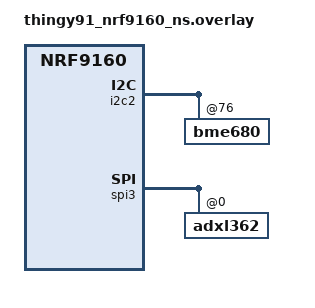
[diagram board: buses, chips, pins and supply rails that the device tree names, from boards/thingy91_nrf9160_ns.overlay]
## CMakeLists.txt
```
cmake_minimum_required(VERSION 3.20.0)
find_package(Zephyr REQUIRED HINTS $ENV{ZEPHYR_BASE})
project(nrf_cloud_mqtt_multi_service)

target_sources(app PRIVATE src/main.c)
target_sources(app PRIVATE src/application.c)
target_sources(app PRIVATE src/connection.c)
target_sources(app PRIVATE src/led_control.c)
target_sources(app PRIVATE src/vibration.c)

# AWS FILE
target_sources(app PRIVATE src/aws_transport.c)

# OLD COAP FILE (Commented out)
# target_sources(app PRIVATE src/tb_coap.c)

zephyr_include_directories(src)
```

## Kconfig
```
menu "Application Settings"

config APP_VERSION
    string "Application version"
    default "1.0.0"

# --- Stack Sizes ---
config APPLICATION_THREAD_STACK_SIZE
    int "Application Thread Stack Size (bytes)"
    default 4096

config CONNECTION_THREAD_STACK_SIZE
    int "Connection Thread Stack Size (bytes)"
    default 2048

# --- ThingsBoard CoAP Settings ---
config CLOUD_THINGSBOARD_COAP
    select COAP_UTILS
    bool "Enables reporting to Thingsboard cloud"
    default y

config CLOUD_THINGSBOARD_COAP_SERVER_HOSTNAME
    string "Thingsboard CoAP server hostname"
    default "coap.thingsboard.cloud"

config CLOUD_THINGSBOARD_COAP_SERVER_PORT
    int "CoAP server port"
    default 5683
    
config CLOUD_THINGSBOARD_COAP_ACCESS_TOKEN
    string "Thingsboard device access token"

# --- LED Configuration ---
# We use a custom simple LED driver now, but we need to check if PWM is available
config LED_INDICATION_PWM
    bool "Enable LED indication using the pwm-leds driver"
    default y if BOARD_THINGY91_NRF9160_NS

endmenu

module = APP
module-str = Application
source "${ZEPHYR_BASE}/subsys/logging/Kconfig.template.log_config"

menu "Zephyr Kernel"
source "Kconfig.zephyr"
endmenu
```

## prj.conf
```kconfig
# --- Application Memory ---
CONFIG_MAIN_STACK_SIZE=4096
CONFIG_HEAP_MEM_POOL_SIZE=8192

# --- AWS IoT Configuration ---
CONFIG_AWS_IOT=y
CONFIG_AWS_IOT_SEC_TAG=16842753
CONFIG_AWS_IOT_APP_SUBSCRIPTION_LIST_COUNT=0
CONFIG_AWS_IOT_CLIENT_ID_STATIC="thingy91_XX" #Replace with your device id (Ex: thimgy91_01)

# --- CHECK THIS CAREFULLY ---
CONFIG_AWS_IOT_BROKER_HOST_NAME="XXXXXXXXXXXXX-ats.iot.us-east-2.amazonaws.com" #Replace with host name in AWS IoT Core

# Network Configuration for Hologram
CONFIG_PDN=y
CONFIG_PDN_DEFAULTS_OVERRIDE=y
CONFIG_PDN_DEFAULT_APN="hologram"
CONFIG_PDN_DEFAULT_FAM_IPV4=y

# Ensure the modem checks the external slot by default
# (You might still need the AT command once, but this helps stability)

# --- Networking ---
CONFIG_NETWORKING=y
CONFIG_NET_NATIVE=n
CONFIG_NET_SOCKETS=y
CONFIG_NET_SOCKETS_OFFLOAD=y

# --- JSON ---
CONFIG_CJSON_LIB=y

# --- System & Libs ---
CONFIG_EVENTS=y
CONFIG_DATE_TIME=y
CONFIG_NEWLIB_LIBC=y
CONFIG_NEWLIB_LIBC_FLOAT_PRINTF=y
CONFIG_RESET_ON_FATAL_ERROR=n
CONFIG_NCS_SAMPLES_DEFAULTS=y

# --- Modem & LTE ---
CONFIG_NRF_MODEM_LIB=y
CONFIG_LTE_LINK_CONTROL=y
CONFIG_LTE_NETWORK_MODE_LTE_M_GPS=n
CONFIG_MODEM_INFO=y

# --- Power & Hardware ---
CONFIG_LTE_PSM_REQ=n
CONFIG_LTE_EDRX_REQ=n
CONFIG_PWM=y
CONFIG_LED=y
CONFIG_LED_PWM=y
CONFIG_ADP536X=y

# --- Logging ---
CONFIG_LOG=y
CONFIG_LOG_MODE_DEFERRED=y


CONFIG_CBPRINTF_FP_A_SUPPORT=y
```

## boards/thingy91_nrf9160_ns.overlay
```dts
/* Copyright (c) 2022 Nordic Semiconductor ASA
 *
 * SPDX-License-Identifier: LicenseRef-Nordic-5-Clause
 */

/ {
	aliases {
		temp-sensor = &bme680;
		accelerometer = &adxl362;
		impact-sensor = &adxl372;
	};
};

&i2c2 {
	bme680: bme680@76 {};
};

&spi3 {
	adxl362: adxl362@0 {
		// autosleep;
	};
};

// /* Configure ADXL362 Sampling Rate */
// &spi3 {
//     adxl362@0 {
//         /* Set Output Data Rate to 100 Hz (Default is often 100 or 12.5) */
//         /* Options: 0=12.5Hz, 1=25Hz, 2=50Hz, 3=100Hz, 4=200Hz, 5=400Hz */
//         /* Note: The exact syntax depends on the Zephyr version, but typically: */
//         odr = <3>; 
//     };
// };

// /* Change 100 to 50 for 20Hz checks, or 200 for 5Hz checks */
// #define POLL_INTERVAL_MS 100
```

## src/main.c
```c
#include "application.h"
#include "connection.h"
#include "led_control.h"
#include <zephyr/kernel.h>
#include <zephyr/logging/log.h>

LOG_MODULE_REGISTER(main, CONFIG_LOG_DEFAULT_LEVEL);

/* Main Application Thread */
K_THREAD_DEFINE(app_thread, CONFIG_APPLICATION_THREAD_STACK_SIZE,
                main_application_thread_fn, NULL, NULL, NULL, 0, 0, 0);

/* Connection Management Thread (-1 Priority = Highest/Pre-emptive) */
K_THREAD_DEFINE(con_thread, CONFIG_CONNECTION_THREAD_STACK_SIZE,
                connection_management_thread_fn, NULL, NULL, NULL, -1, 0, 0);

int main(void) {
  /* Init LED hardware immediately */
  led_init();

  LOG_INF("nRF Cloud MQTT multi-service sample has started.");
  return 0;
}
```

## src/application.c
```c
#include <zephyr/kernel.h>
#include <zephyr/logging/log.h>
#include <date_time.h>
#include <stdio.h>
#include <string.h>
#include <math.h>
#include <modem/modem_info.h>

#if defined(CONFIG_ADP536X)
#include <adp536x.h>
#endif

#include "application.h"
#include "connection.h"
#include "led_control.h"
#include "vibration.h"
#include "aws_transport.h" 

LOG_MODULE_REGISTER(application, CONFIG_LOG_DEFAULT_LEVEL);

static K_TIMER_DEFINE(sensor_sample_timer, NULL, NULL);

/* --- CONFIGURATION --- */
#define SAMPLING_RATE_MS 100   
#define BATCH_SIZE       500   
#define VIB_THRESHOLD    0.0   
#define HEARTBEAT_INTERVAL_MS 60000
#define ERROR_BACKOFF_TIME_MS 5000
#define PACKET_OVERHEAD_BYTES 350 
#define JSON_BUFFER_SIZE 12288

struct VibrationData {
    float ax;
    float az;
};

static struct VibrationData batch_buffer[BATCH_SIZE];
static int batch_index = 0;
static int64_t batch_start_time = 0;
static int64_t total_bytes_sent = 0;
static char huge_payload[JSON_BUFFER_SIZE];

void main_application_thread_fn(void)
{
    int err = modem_info_init();
    if (err) LOG_ERR("Modem init error: %d", err);

    LOG_INF("Waiting for LTE...");
    (void)await_lte_connection(K_FOREVER);
    
    LOG_INF("Waiting for Time...");
    await_date_time_known(K_SECONDS(20));

    start_vibration_tracking();
    start_aws_transport(); 

    while (!is_aws_connected()) {
        k_sleep(K_SECONDS(1));
    }
    LOG_INF("AWS Connected!");
    led_set_connection_status(true);

    k_timer_start(&sensor_sample_timer, K_MSEC(SAMPLING_RATE_MS), K_MSEC(SAMPLING_RATE_MS));

    int64_t last_heartbeat = 0;
    int64_t backoff_until = 0;
    double peak_x = 0, peak_z = 0;
    bool significant_motion = false;

    while (true) {
        k_timer_status_sync(&sensor_sample_timer);
        int64_t now = k_uptime_get();

        /* --- 1. HEARTBEAT WITH BATTERY MAPPING --- */
        if (now - last_heartbeat >= HEARTBEAT_INTERVAL_MS) {
            if (is_aws_connected()) {
                uint8_t raw_bat = 0;
#if defined(CONFIG_ADP536X)
                adp536x_fg_soc(&raw_bat);
#endif
                /* Map 94% to 100% */
                int mapped_bat = (int)(raw_bat * 1.064);
                if (mapped_bat > 100) mapped_bat = 100;

                int64_t hb_time = 0;
                date_time_now(&hb_time);

                char beat_payload[128];
                /* FIX: Cast timestamp to (long) and use %ld to avoid "ld" error */
                snprintf(beat_payload, sizeof(beat_payload), 
                         "{\"t\":%ld,\"type\":\"beat\",\"b\":%d}", 
                         (long)(hb_time / 1000), mapped_bat);
                
                aws_send_telemetry(beat_payload);
                total_bytes_sent += (strlen(beat_payload) + PACKET_OVERHEAD_BYTES);
                LOG_INF("Heartbeat: %d%% (Raw: %d%%). Total: %lld KB", 
                        mapped_bat, raw_bat, total_bytes_sent / 1024);
                
                last_heartbeat = now;
            }
        }

        /* --- 2. VIBRATION READ --- */
        double curr_x, curr_y, curr_z;
        get_vibration_xyz(&curr_x, &curr_y, &curr_z);
        if (fabs(curr_x) > fabs(peak_x)) peak_x = curr_x;
        if (fabs(curr_z) > fabs(peak_z)) peak_z = curr_z;
        if (fabs(curr_x) > VIB_THRESHOLD || fabs(curr_z) > VIB_THRESHOLD) significant_motion = true;

        /* --- 3. STORE --- */
        if (batch_index == 0) date_time_now(&batch_start_time);
        batch_buffer[batch_index].ax = (float)peak_x;
        batch_buffer[batch_index].az = (float)peak_z;
        batch_index++;
        peak_x = 0; peak_z = 0; 

        /* --- 4. OPTIMIZED UPLOAD --- */
        if (batch_index >= BATCH_SIZE) {
            if (significant_motion && (now >= backoff_until) && is_aws_connected()) {
                int offset = 0;
                
                /* FIX: Cast to (long) and use %ld. 
                   Old %lld caused 'ld' text to appear in JSON */
                offset += snprintf(huge_payload + offset, JSON_BUFFER_SIZE - offset, 
                                   "{\"t\":%ld,\"x\":[", (long)(batch_start_time / 1000));
                
                for (int i = 0; i < BATCH_SIZE; i++) {
                    offset += snprintf(huge_payload + offset, JSON_BUFFER_SIZE - offset, "%.2f", batch_buffer[i].ax);
                    if (i < BATCH_SIZE - 1) huge_payload[offset++] = ',';
                }
                
                offset += snprintf(huge_payload + offset, JSON_BUFFER_SIZE - offset, "],\"z\":[");
                
                for (int i = 0; i < BATCH_SIZE; i++) {
                    offset += snprintf(huge_payload + offset, JSON_BUFFER_SIZE - offset, "%.2f", batch_buffer[i].az);
                    if (i < BATCH_SIZE - 1) huge_payload[offset++] = ',';
                }
                
                offset += snprintf(huge_payload + offset, JSON_BUFFER_SIZE - offset, "]}");

                if (aws_send_telemetry(huge_payload) != 0) {
                    backoff_until = now + ERROR_BACKOFF_TIME_MS;
                } else {
                    total_bytes_sent += (offset + PACKET_OVERHEAD_BYTES);
                    LOG_INF("Upload Success. Total Session: %lld KB", total_bytes_sent / 1024);
                }
            }
            batch_index = 0;
            significant_motion = false;
        }
    }
}
```

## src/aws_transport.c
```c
#include <zephyr/kernel.h>
#include <zephyr/logging/log.h>
#include <net/aws_iot.h>
#include <stdio.h>
#include "aws_transport.h"

LOG_MODULE_REGISTER(aws_transport, CONFIG_LOG_DEFAULT_LEVEL);

// UPDATED TOPIC
#define AWS_TOPIC "thingy91/thingy91_XX/data"

static struct k_work_delayable connect_work;
static bool aws_connected = false;

void aws_iot_event_handler(const struct aws_iot_evt *const evt)
{
    switch (evt->type) {
    case AWS_IOT_EVT_CONNECTED:
        LOG_INF("AWS IoT Connected!");
        aws_connected = true;
        break;
    case AWS_IOT_EVT_DISCONNECTED:
        LOG_WRN("AWS IoT Disconnected! Reconnecting in 5s...");
        aws_connected = false;
        k_work_schedule(&connect_work, K_SECONDS(5));
        break;
    case AWS_IOT_EVT_ERROR:
        LOG_ERR("AWS IoT Error: %d", evt->data.err);
        break;
    default:
        break;
    }
}

static void connect_work_fn(struct k_work *work)
{
    LOG_INF("Connecting to AWS IoT...");
    
    struct aws_iot_config config = {0};
    config.client_id = NULL; 
    
    int err = aws_iot_connect(&config);
    if (err) {
        LOG_ERR("AWS Connect failed: %d. Retrying in 5s...", err);
        k_work_schedule(&connect_work, K_SECONDS(5));
    }
}

void start_aws_transport(void)
{
    int err = aws_iot_init(NULL, aws_iot_event_handler);
    if (err) {
        LOG_ERR("AWS Init failed: %d", err);
        return;
    }

    k_work_init_delayable(&connect_work, connect_work_fn);
    k_work_schedule(&connect_work, K_NO_WAIT);
}

int aws_send_telemetry(const char *payload)
{
    if (!aws_connected) {
        return -ENOTCONN;
    }

    struct aws_iot_data tx_data = {
        .ptr = (char *)payload,
        .len = strlen(payload),
        .message_id = 0,
        .qos = MQTT_QOS_0_AT_MOST_ONCE,
        .topic.str = AWS_TOPIC,
        .topic.len = strlen(AWS_TOPIC)
    };
    
    return aws_iot_send(&tx_data);
}

/* Helper to let application.c know if we are ready */
bool is_aws_connected(void)
{
    return aws_connected;
}
```

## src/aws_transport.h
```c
#ifndef AWS_TRANSPORT_H
#define AWS_TRANSPORT_H

#include <stdbool.h>

void start_aws_transport(void);
int aws_send_telemetry(const char *payload);
bool is_aws_connected(void);

#endif
```

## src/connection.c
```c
#include <date_time.h>
#include <modem/lte_lc.h>
#include <modem/nrf_modem_lib.h>
#include <stdio.h>
#include <zephyr/kernel.h>
#include <zephyr/logging/log.h>
#include <zephyr/net/socket.h>

#include "connection.h"
#include "led_control.h" // Uses new API

LOG_MODULE_REGISTER(connection, CONFIG_LOG_DEFAULT_LEVEL);

/* Flow control event identifiers */
#define LTE_CONNECTED (1 << 1)
#define LTE_DISCONNECTED (1 << 2)
#define DATE_TIME_KNOWN (1 << 1)

static K_EVENT_DEFINE(lte_connection_events);
static K_EVENT_DEFINE(datetime_connection_events);

/* ... (Keep notify_lte_connected, clear_lte_connected, await_lte_connection,
 * etc. as they were) ... */
/* NOTE: I am abbreviating helper functions here to save space.
   Keep your existing 'static void notify_lte_connected',
   'await_lte_connection', etc. They do not change.
*/
static void notify_lte_connected(void) {
  k_event_post(&lte_connection_events, LTE_CONNECTED);
}
static void clear_lte_connected(void) {
  k_event_set(&lte_connection_events, 0);
}
bool await_lte_connection(k_timeout_t timeout) {
  return k_event_wait_all(&lte_connection_events, LTE_CONNECTED, false,
                          timeout) != 0;
}
static void notify_date_time_known(void) {
  k_event_post(&datetime_connection_events, DATE_TIME_KNOWN);
}
bool await_date_time_known(k_timeout_t timeout) {
  return k_event_wait(&datetime_connection_events, DATE_TIME_KNOWN, false,
                      timeout) != 0;
}
static void date_time_evt_handler(const struct date_time_evt *date_time_evt) {
  if (date_time_is_valid()) {
    notify_date_time_known();
  }
}

/* ... (Keep lte_event_handler and setup_modem as they were) ... */
static void lte_event_handler(const struct lte_lc_evt *const evt) {
  /* Copy your existing lte_event_handler logic here */
  switch (evt->type) {
  case LTE_LC_EVT_NW_REG_STATUS:
    if ((evt->nw_reg_status != LTE_LC_NW_REG_REGISTERED_HOME) &&
        (evt->nw_reg_status != LTE_LC_NW_REG_REGISTERED_ROAMING)) {
      clear_lte_connected();
      k_event_post(&lte_connection_events, LTE_DISCONNECTED);

      /* LINK DROP: Turn LED RED */
      led_set_connection_status(false);
    } else {
      notify_lte_connected();
    }
    break;
  default:
    break;
  }
}

static int setup_modem(void) {
  int ret = nrf_modem_lib_init();
  if (ret == 0)
    date_time_register_handler(date_time_evt_handler);
  return ret;
}

static int setup_lte(void) {
  /* Copy your existing setup_lte logic here */
  if (IS_ENABLED(CONFIG_POWER_SAVING_MODE_ENABLE))
    lte_lc_psm_req(true);
  lte_lc_modem_events_enable();
  return lte_lc_init_and_connect_async(lte_event_handler);
}

void connection_management_thread_fn(void) {
  /* STARTUP: Turn LED RED */
  led_set_connection_status(false);

  LOG_INF("Setting up modem...");
  if (setup_modem()) {
    LOG_ERR("Modem setup failed");
    return;
  }

  LOG_INF("Setting up LTE...");
  if (setup_lte()) {
    LOG_ERR("LTE setup failed");
    return;
  }

  LOG_INF("Connecting to LTE network...");
  while (true) {
    /* Wait for connection */
    (void)await_lte_connection(K_FOREVER);

    /* NOTE: We do NOT turn the LED off here.
     * We wait for application.c to confirm everything (Cloud + Time) is ready.
     */

    k_event_set_masked(&lte_connection_events, 0, LTE_DISCONNECTED);
    (void)k_event_wait(&lte_connection_events, LTE_DISCONNECTED, false,
                       K_FOREVER);

    LOG_INF("Disconnected. Re-connecting...");
    /* RETRYING: Turn LED RED */
    led_set_connection_status(false);
  }
}
```

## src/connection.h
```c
#ifndef CONNECTION_H_
#define CONNECTION_H_

#include <stdbool.h>       // Required for bool
#include <zephyr/kernel.h> // Required for k_timeout_t

/**
 * @brief Thread entry point for connection management.
 */
void connection_management_thread_fn(void);

/**
 * @brief Wait for the LTE link to be established.
 * * @param timeout How long to wait.
 * @return true if connected, false if timed out.
 */
bool await_lte_connection(k_timeout_t timeout);

/**
 * @brief Wait for the modem to resolve the current date and time.
 * * @param timeout How long to wait.
 * @return true if time is known, false if timed out.
 */
bool await_date_time_known(k_timeout_t timeout);

#endif /* CONNECTION_H_ */
```

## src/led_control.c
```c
#include "led_control.h"
#include <zephyr/drivers/led.h>
#include <zephyr/kernel.h>
#include <zephyr/logging/log.h>

LOG_MODULE_REGISTER(led_control, CONFIG_LOG_DEFAULT_LEVEL);

/* Auto-detect LED driver (PWM or GPIO) */
#if defined(CONFIG_LED_INDICATION_PWM)
const static struct device *led_device = DEVICE_DT_GET_ANY(pwm_leds);
#else
const static struct device *led_device = DEVICE_DT_GET_ANY(gpio_leds);
#endif

/* RGB Channels on Thingy:91 */
#define LED_RED 0
#define LED_GRN 1
#define LED_BLU 2

void led_init(void) {
  if (!device_is_ready(led_device)) {
    LOG_ERR("LED device not ready");
    return;
  }
  /* Default to Not Connected (RED) on startup */
  led_set_connection_status(false);
}

void led_set_connection_status(bool connected) {
  if (!device_is_ready(led_device)) {
    return;
  }

  if (connected) {
    /* CONNECTED: Turn EVERYTHING OFF to save battery */
    led_off(led_device, LED_RED);
    led_off(led_device, LED_GRN);
    led_off(led_device, LED_BLU);
  } else {
    /* NOT CONNECTED: Turn RED ON */
    led_off(led_device, LED_GRN);
    led_off(led_device, LED_BLU);

    /* Set Red. If PWM, use brightness 20% to save even more power while still
     * visible */
#if defined(CONFIG_LED_INDICATION_PWM)
    led_set_brightness(led_device, LED_RED, 20);
#else
    led_on(led_device, LED_RED);
#endif
  }
}
```

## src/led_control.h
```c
#ifndef LED_CONTROL_H_
#define LED_CONTROL_H_

#include <stdbool.h>

/**
 * @brief Initialize the LED device.
 */
void led_init(void);

/**
 * @brief Set the connection status LED.
 * * @param connected
 * false = Not Connected (RED LED ON)
 * true  = Connected (LED OFF - Save Battery)
 */
void led_set_connection_status(bool connected);

#endif /* LED_CONTROL_H_ */
```

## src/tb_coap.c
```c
#include "tb_coap.h"
#include <stdio.h>
#include <zephyr/kernel.h>
#include <zephyr/logging/log.h>
#include <zephyr/net/coap.h>
#include <zephyr/net/socket.h>

LOG_MODULE_REGISTER(tb_coap, CONFIG_LOG_DEFAULT_LEVEL);

static int sock = -1;
static struct sockaddr_in server;
static uint8_t coap_buf[256];

/* Flag to track if we have the IP address */
static bool ip_resolved = false;

/* Forward declaration */
static int tb_coap_connect(void);

static int server_resolve(void) {
  int err;
  struct addrinfo *result;
  struct addrinfo hints = {.ai_family = AF_INET, .ai_socktype = SOCK_DGRAM};

  LOG_INF("Resolving %s", CONFIG_CLOUD_THINGSBOARD_COAP_SERVER_HOSTNAME);

  err = getaddrinfo(CONFIG_CLOUD_THINGSBOARD_COAP_SERVER_HOSTNAME, NULL, &hints,
                    &result);
  if (err != 0) {
    LOG_ERR("DNS Lookup failed %d", err);
    ip_resolved = false;
    return -EIO;
  }

  if (result == NULL) {
    LOG_ERR("Address not found");
    ip_resolved = false;
    return -ENOENT;
  }

  struct sockaddr_in *server4 = ((struct sockaddr_in *)&server);
  server4->sin_addr.s_addr =
      ((struct sockaddr_in *)result->ai_addr)->sin_addr.s_addr;
  server4->sin_family = AF_INET;
  server4->sin_port = htons(CONFIG_CLOUD_THINGSBOARD_COAP_SERVER_PORT);

  char ipv4_addr[NET_IPV4_ADDR_LEN];
  inet_ntop(AF_INET, &server4->sin_addr.s_addr, ipv4_addr, sizeof(ipv4_addr));
  LOG_INF("ThingsBoard IP resolved: %s", ipv4_addr);

  freeaddrinfo(result);
  ip_resolved = true;
  return 0;
}

void tb_coap_force_disconnect(void) {
  if (sock >= 0) {
    close(sock);
    sock = -1;
  }
}

static int tb_coap_connect(void) {
  int err;

  /* 1. Ensure we have an IP before creating a socket */
  if (!ip_resolved) {
    LOG_WRN("IP not resolved. Resolving now...");
    if (server_resolve() != 0) {
      return -EIO;
    }
  }

  /* 2. Safety: Close any old socket to prevent leaks */
  tb_coap_force_disconnect();

  LOG_INF("Creating new socket...");
  sock = socket(AF_INET, SOCK_DGRAM, IPPROTO_UDP);
  if (sock < 0) {
    LOG_ERR("Failed to create socket, errno: %d", errno);
    return -errno;
  }

  LOG_INF("Connecting to server...");
  err = connect(sock, (struct sockaddr *)&server, sizeof(server));

  /* --- FIX FOR ERROR 106 STARTS HERE --- */
  if (err < 0) {
    if (errno == EISCONN || errno == 106) {
      /* Error 106 means "Transport endpoint is already connected"
       * For us, this is GREAT. It means the link is ready.
       */
      LOG_WRN("Socket was already connected (106). Proceeding as Success.");
      return 0;
    }

    /* Real error */
    LOG_ERR("Failed to connect socket, errno: %d", errno);
    tb_coap_force_disconnect();
    return -errno;
  }
  /* --- FIX ENDS HERE --- */

  LOG_INF("Socket connected!");
  return 0;
}

void start_tb_coap() { server_resolve(); }

int tb_coap_send_telemetry_payload_string(const char *name,
                                          const char *payload) {
  if (sock < 0) {
    LOG_WRN("Socket not open, attempting to reconnect...");
    if (tb_coap_connect() != 0) {
      return -EIO;
    }
  }

  struct coap_packet request;
  int err;

  err = coap_packet_init(&request, coap_buf, sizeof(coap_buf), 1,
                         COAP_TYPE_NON_CON, 0, coap_next_token(),
                         COAP_METHOD_POST, coap_next_id());
  if (err < 0) {
    LOG_ERR("Failed to init CoAP packet, err: %d", err);
    return err;
  }

  coap_packet_append_option(&request, COAP_OPTION_URI_PATH, "api", 3);
  coap_packet_append_option(&request, COAP_OPTION_URI_PATH, "v1", 2);
  coap_packet_append_option(&request, COAP_OPTION_URI_PATH,
                            CONFIG_CLOUD_THINGSBOARD_COAP_ACCESS_TOKEN,
                            strlen(CONFIG_CLOUD_THINGSBOARD_COAP_ACCESS_TOKEN));
  coap_packet_append_option(&request, COAP_OPTION_URI_PATH, "telemetry", 9);

  const uint8_t content_format = COAP_CONTENT_FORMAT_APP_JSON;
  coap_packet_append_option(&request, COAP_OPTION_CONTENT_FORMAT,
                            &content_format, sizeof(content_format));

  coap_packet_append_payload_marker(&request);
  coap_packet_append_payload(&request, (uint8_t *)payload, strlen(payload));

  err = send(sock, request.data, request.offset, 0);
  if (err < 0) {
    LOG_ERR("Failed to send CoAP packet, errno: %d", errno);
    tb_coap_force_disconnect();
    return -errno;
  }

  return 0;
}
```

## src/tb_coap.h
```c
#ifndef TB_COAP_H
#define TB_COAP_H

void start_tb_coap(void);
int tb_coap_send_telemetry_payload_string(const char *name,
                                          const char *payload);

/* Add this new function */
void tb_coap_force_disconnect(void);

#endif
```

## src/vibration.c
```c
#include <math.h>
#include <stdlib.h>
#include <zephyr/devicetree.h>
#include <zephyr/drivers/sensor.h>
#include <zephyr/kernel.h>
#include <zephyr/logging/log.h>

#include "vibration.h"

#define ACCELEROMETER_CHANNELS 3

/* EMA FILTER (0.1)
 * Smoothing factor to remove high-frequency noise.
 */
#define EMA_ALPHA 0.1

/*
 * --- CALIBRATION VALUES ---
 * Based on your specific mounting position.
 */
#define CAL_OFFSET_X (0.37)
#define CAL_GRAVITY_Y (9.0)
#define CAL_OFFSET_Z (-0.74)

#define REAL_GRAVITY (9.80665)

LOG_MODULE_REGISTER(vibration, CONFIG_LOG_DEFAULT_LEVEL);

static const struct device *accel_sensor =
    DEVICE_DT_GET(DT_ALIAS(accelerometer));
static double filtered_sample[ACCELEROMETER_CHANNELS] = {0};

static struct sensor_trigger accel_sensor_trigger = {
    .chan = SENSOR_CHAN_ACCEL_XYZ, .type = SENSOR_TRIG_DATA_READY};

static void accel_trigger_handler(const struct device *dev,
                                  const struct sensor_trigger *trig) {
  struct sensor_value data[ACCELEROMETER_CHANNELS];

  if (sensor_sample_fetch(dev) < 0)
    return;
  if (sensor_channel_get(dev, SENSOR_CHAN_ACCEL_XYZ, data) < 0)
    return;

  double raw_x = sensor_value_to_double(&data[0]);
  double raw_y = sensor_value_to_double(&data[1]);
  double raw_z = sensor_value_to_double(&data[2]);

  /* Apply EMA Smoothing */
  /* Initialize if first run */
  if (filtered_sample[0] == 0.0 && filtered_sample[1] == 0.0 &&
      filtered_sample[2] == 0.0) {
    filtered_sample[0] = raw_x;
    filtered_sample[1] = raw_y;
    filtered_sample[2] = raw_z;
  } else {
    filtered_sample[0] =
        (EMA_ALPHA * raw_x) + (1.0 - EMA_ALPHA) * filtered_sample[0];
    filtered_sample[1] =
        (EMA_ALPHA * raw_y) + (1.0 - EMA_ALPHA) * filtered_sample[1];
    filtered_sample[2] =
        (EMA_ALPHA * raw_z) + (1.0 - EMA_ALPHA) * filtered_sample[2];
  }
}

void start_vibration_tracking(void) {
  if (device_is_ready(accel_sensor)) {
    sensor_trigger_set(accel_sensor, &accel_sensor_trigger,
                       accel_trigger_handler);
  } else {
    LOG_ERR("Accelerometer device not ready");
  }
}

void get_vibration_xyz(double *x, double *y, double *z) {
  double raw_x = filtered_sample[0];
  double raw_y = filtered_sample[1];
  double raw_z = filtered_sample[2];

  /* Apply Calibration: Subtract static offsets */
  *x = raw_x - CAL_OFFSET_X;
  *z = raw_z - CAL_OFFSET_Z;

  /* Normalize Gravity on Y (Optional) */
  *y = (raw_y / CAL_GRAVITY_Y) * REAL_GRAVITY;
}
```

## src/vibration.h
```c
/* vibration.h */

#ifndef _VIBRATION_H_
#define _VIBRATION_H_

#include <zephyr/kernel.h>
#include <zephyr/drivers/sensor.h>

/**
 * @brief Initializes the accelerometer and starts the trigger-based sampling.
 */
void start_vibration_tracking(void);

/**
 * @brief Gets the latest raw accelerometer data.
 *
 * @param[out] x Pointer to be filled with the X-axis value (in m/s^2).
 * @param[out] y Pointer to be filled with the Y-axis value (in m/s^2).
 * @param[out] z Pointer to be filled with the Z-axis value (in m/s^2).
 */
void get_vibration_xyz(double *x, double *y, double *z);

#endif /* _VIBRATION_H_ */
```
